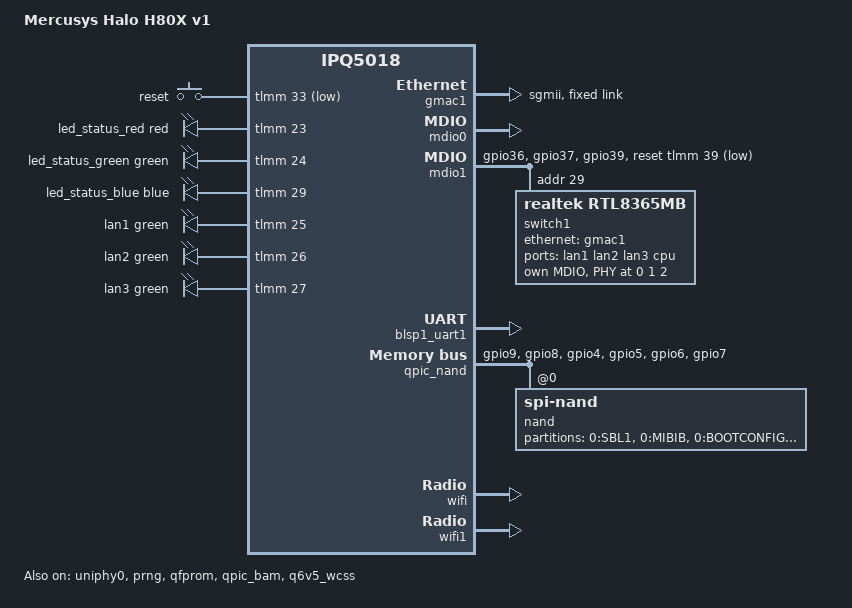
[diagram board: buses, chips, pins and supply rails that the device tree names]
// SPDX-FileCopyrightText: Etienne-T
// SPDX-License-Identifier: GPL-2.0-or-later OR MIT
/*
 * Mercusys Halo H80X v1 — variante installable, à tester d'abord en RAM.
 * Le DTS de test (openwrt/history/ipq5018-h80x-v1-ram.dts) n'est pas modifié.
 * Les nœuds Wi-Fi et coherent_pool sont ceux qui ont démarré sur le Halo.
 *
 * Basé sur ipq5018-mr80x-v2.dts (même SoC, switch RTL8367S, NAND F50D1G41LB),
 * adapté d'après le DTB d'origine du H80X (FIT config@mp03.3) :
 *  - UART : pas de pinctrl (GPIO 29 = LED bleue sur le H80X, pas UART TX) :
 *    on garde le multiplexage fait par le bootloader ;
 *  - reset du switch sur GPIO 39 (26 sur le MR80X) ;
 *  - bouton reset GPIO 33, LEDs RGB 23/24/29, LEDs ports 25/26/27 ;
 *  - 3 ports Ethernet (switch ports 0-2), CPU sur port 6 en SGMII ;
 *  - partitions fixes. Modifiables : rootfs, rootfs_1, 0:APPSBLENV. Le reste est en lecture seule ;
 *  - Wi-Fi ath11k : IPQ5018 (2,4 GHz) + QCN6122 (5 GHz), voir en bas.
 */

/dts-v1/;

#include "ipq5018.dtsi"
#include "ipq5018-ess.dtsi"
#include "ipq5018-qcn6122.dtsi"

#include <dt-bindings/gpio/gpio.h>
#include <dt-bindings/input/input.h>
#include <dt-bindings/leds/common.h>
#include <dt-bindings/net/qca-uniphy.h>

/ {
	model = "Mercusys Halo H80X v1";
	compatible = "mercusys,h80x-v1", "qcom,ipq5018";

	aliases {
		led-boot = &led_status_green;
		led-failsafe = &led_status_red;
		led-running = &led_status_green;
		led-upgrade = &led_status_blue;
		serial0 = &blsp1_uart1;
		ethernet1 = &gmac1;
	};

	chosen {
		stdout-path = "serial0:115200n8";
		/*
		 * Le chargeur du firmware Wi-Fi (qcom-q6-mpd) a besoin d'un pool DMA
		 * atomique plus grand : sans coherent_pool=2M -> « DMA pool exhausted
		 * for pd-1 » et ath11k échoue (-12). Le firmware d'origine le passait aussi.
		 */
		/*
		 * U-Boot fournit déjà ubi.mtd=rootfs ou ubi.mtd=rootfs_1.
		 * ubiblock0_1 est le volume rootfs de cette banque (KERNEL_IN_UBI),
		 * comme sur l'Archer AX55 v1. coherent_pool reste obligatoire.
		 */
		bootargs-append = " root=/dev/ubiblock0_1 coherent_pool=2M";
	};

	keys {
		compatible = "gpio-keys";
		pinctrl-0 = <&button_pins>;
		pinctrl-names = "default";

		reset-button {
			label = "reset";
			gpios = <&tlmm 33 GPIO_ACTIVE_LOW>;
			linux,code = <KEY_RESTART>;
		};
	};

	leds {
		compatible = "gpio-leds";

		led_status_red: status-red {
			color = <LED_COLOR_ID_RED>;
			function = LED_FUNCTION_STATUS;
			gpios = <&tlmm 23 GPIO_ACTIVE_HIGH>;
		};

		led_status_green: status-green {
			color = <LED_COLOR_ID_GREEN>;
			function = LED_FUNCTION_STATUS;
			gpios = <&tlmm 24 GPIO_ACTIVE_HIGH>;
			default-state = "on";
		};

		led_status_blue: status-blue {
			color = <LED_COLOR_ID_BLUE>;
			function = LED_FUNCTION_STATUS;
			gpios = <&tlmm 29 GPIO_ACTIVE_HIGH>;
		};

		lan1 {
			color = <LED_COLOR_ID_GREEN>;
			function = LED_FUNCTION_LAN;
			function-enumerator = <1>;
			gpios = <&tlmm 25 GPIO_ACTIVE_HIGH>;
		};

		lan2 {
			color = <LED_COLOR_ID_GREEN>;
			function = LED_FUNCTION_LAN;
			function-enumerator = <2>;
			gpios = <&tlmm 26 GPIO_ACTIVE_HIGH>;
		};

		lan3 {
			color = <LED_COLOR_ID_GREEN>;
			function = LED_FUNCTION_LAN;
			function-enumerator = <3>;
			gpios = <&tlmm 27 GPIO_ACTIVE_HIGH>;
		};
	};
};

/*
 * IPQ5018 MAC0 -> GE Phy interne : non câblé (comme sur le MR80X).
 * IPQ5018 MAC1 -> Uniphy SGMII -> RTL8367S port 6 (CPU).
 * RTL8367S ports 0-2 -> les 3 prises RJ45.
 * Le DTS d'origine déclare ce lien à 2500 (HSGMII) ; vitesse non mesurée.
 * On reste en SGMII 1000, configuration retenue en amont pour le MR80X v2.
 */

&uniphy0 {
	status = "okay";

	assigned-clocks = <&uniphy0 UNIPHY_CLK_REF>;
	assigned-clock-rates = <UNIPHY_REFCLK_25MHZ>;
};

&gmac1 {
	status = "okay";

	phy-mode = "sgmii";

	fixed-link {
		speed = <1000>;
		full-duplex;
	};
};

&mdio0 {
	status = "okay";
};

&mdio1 {
	status = "okay";

	pinctrl-0 = <&mdio1_pins>, <&switch_reset_pins>;
	pinctrl-names = "default";
	reset-gpios = <&tlmm 39 GPIO_ACTIVE_LOW>;

	/* RTL8367S: Linux detected the switch at MDIO address 29. */
	switch1: ethernet-switch@1d {
		compatible = "realtek,rtl8365mb";
		reg = <29>;

		mdio {
			#address-cells = <1>;
			#size-cells = <0>;

			rtl8367s_0: ethernet-phy@0 {
				reg = <0>;
			};

			rtl8367s_1: ethernet-phy@1 {
				reg = <1>;
			};

			rtl8367s_2: ethernet-phy@2 {
				reg = <2>;
			};
		};

		ports {
			#address-cells = <1>;
			#size-cells = <0>;

			port@0 {
				reg = <0>;
				label = "lan1";
				phy-handle = <&rtl8367s_0>;
			};

			port@1 {
				reg = <1>;
				label = "lan2";
				phy-handle = <&rtl8367s_1>;
			};

			port@2 {
				reg = <2>;
				label = "lan3";
				phy-handle = <&rtl8367s_2>;
			};

			port@6 {
				reg = <6>;
				label = "cpu";
				phy-mode = "sgmii";
				ethernet = <&gmac1>;

				fixed-link {
					speed = <1000>;
					full-duplex;
				};
			};
		};
	};
};

&sleep_clk {
	clock-frequency = <32000>;
};

&xo_board_clk {
	clock-div = <4>;
	clock-mult = <1>;
};

/* Console : multiplexage laissé au bootloader (voir en-tête) */
&blsp1_uart1 {
	status = "okay";
};

&prng {
	status = "okay";
};

&qfprom {
	status = "okay";
};

&qpic_bam {
	status = "okay";
};

&qpic_nand {
	pinctrl-0 = <&qpic_pins>;
	pinctrl-names = "default";
	status = "okay";

	/* SPI NAND ESMT F50D1G41LB (marking read on the chip, detected by Linux as ESMT), 128 MiB, ECC 4 bits / 512 (comme l'EAP650-Outdoor) */
	nand@0 {
		compatible = "spi-nand";
		reg = <0>;
		nand-ecc-engine = <&qpic_nand>;
		nand-ecc-strength = <4>;
		nand-ecc-step-size = <512>;
		nand-bus-width = <8>;

		/* Table relevée par smeminfo. Trois partitions modifiables, le reste en lecture seule. */
		partitions {
			compatible = "fixed-partitions";
			#address-cells = <1>;
			#size-cells = <1>;

			partition@0 {
				label = "0:SBL1";
				reg = <0x0000000 0x0080000>;
				read-only;
			};

			partition@80000 {
				label = "0:MIBIB";
				reg = <0x0080000 0x0080000>;
				read-only;
			};

			partition@100000 {
				label = "0:BOOTCONFIG";
				reg = <0x0100000 0x0040000>;
				read-only;
			};

			partition@140000 {
				label = "0:BOOTCONFIG1";
				reg = <0x0140000 0x0040000>;
				read-only;
			};

			partition@180000 {
				label = "0:QSEE";
				reg = <0x0180000 0x0100000>;
				read-only;
			};

			partition@280000 {
				label = "0:DEVCFG";
				reg = <0x0280000 0x0040000>;
				read-only;
			};

			partition@2c0000 {
				label = "0:CDT";
				reg = <0x02c0000 0x0040000>;
				read-only;
			};

			partition@300000 {
				label = "0:APPSBLENV";
				reg = <0x0300000 0x0080000>;
			};

			partition@380000 {
				label = "0:APPSBL";
				reg = <0x0380000 0x0140000>;
				read-only;
			};

			partition@4c0000 {
				label = "0:ART";
				reg = <0x04c0000 0x0100000>;
				read-only;
			};

			partition@5c0000 {
				label = "0:TRAINING";
				reg = <0x05c0000 0x0080000>;
				read-only;
			};

			partition@640000 {
				label = "rootfs";
				reg = <0x0640000 0x2a00000>;
			};

			partition@3040000 {
				label = "rootfs_1";
				reg = <0x3040000 0x2a00000>;
			};

			partition@5a40000 {
				label = "0:ETHPHYFW";
				reg = <0x5a40000 0x0080000>;
				read-only;
			};

			partition@5ac0000 {
				label = "factory_data";
				reg = <0x5ac0000 0x0900000>;
				read-only;
			};

			partition@63c0000 {
				label = "runtime_data";
				reg = <0x63c0000 0x1100000>;
				read-only;
			};
		};
	};
};

&tlmm {
	button_pins: button-state {
		pins = "gpio33";
		function = "gpio";
		drive-strength = <8>;
		bias-pull-up;
	};

	mdio1_pins: mdio-state {
		mdc-pins {
			pins = "gpio36";
			function = "mdc";
			drive-strength = <8>;
			bias-pull-up;
		};

		mdio-pins {
			pins = "gpio37";
			function = "mdio";
			drive-strength = <8>;
			bias-pull-up;
		};
	};

	switch_reset_pins: switch-reset-state {
		pins = "gpio39";
		function = "gpio";
		drive-strength = <8>;
		bias-pull-down;
	};

	qpic_pins: qpic-state {
		clock-pins {
			pins = "gpio9";
			function = "qspi_clk";
			drive-strength = <8>;
			bias-disable;
		};

		cs-pins {
			pins = "gpio8";
			function = "qspi_cs";
			drive-strength = <8>;
			bias-disable;
		};

		data-pins {
			pins = "gpio4", "gpio5", "gpio6", "gpio7";
			function = "qspi_data";
			drive-strength = <8>;
			bias-disable;
		};
	};
};

/*
 * Wi-Fi (ath11k). Paramètres relevés dans le DTB d'origine du H80X :
 *  - boot-args d'origine <1 4 2 15 0 0> : <index PCIe, longueur, userPD, GPIO reset, 0, 0>
 *    -> QCN6122 sur PCIe 1, userPD 2, reset GPIO 15 (27 sur MR80X/RE700X) ;
 *  - tgt-mem-mode 1 (512 Mo) ; board-id 0x24 (IPQ5018) et 0x60 (QCN6122).
 * Adresses BDF / m3-dump : disposition standard OpenWrt en mode 1 (comme le RE700X).
 * Calibration lue dans 0:ART (+0x1000 et +0x26800) par 11-ath11k-caldata.
 */
&q6v5_wcss {
	status = "okay";

	boot-args = <1 4 2 15 0 0>;
};

/* IPQ5018 interne : 2,4 GHz */
&wifi {
	status = "okay";

	qcom,rproc = <&q6_wcss_pd1>;
	qcom,calibration-variant = "Mercusys-Halo-H80X-v1";
	qcom,ath11k-fw-memory-mode = <1>;
	qcom,bdf-addr = <0x4c400000>;

	ieee80211-freq-limit = <2400000 2483000>;
};

/* QCN6122 : 5 GHz */
&wifi1 {
	status = "okay";

	qcom,rproc = <&q6_wcss_pd2>;
	qcom,userpd-subsys-name = "q6v5_wcss_userpd2";
	qcom,calibration-variant = "Mercusys-Halo-H80X-v1";
	qcom,ath11k-fw-memory-mode = <1>;
	qcom,bdf-addr = <0x4d100000>;
	qcom,m3-dump-addr = <0x4df00000>;

	ieee80211-freq-limit = <5150000 5730000>;
};
